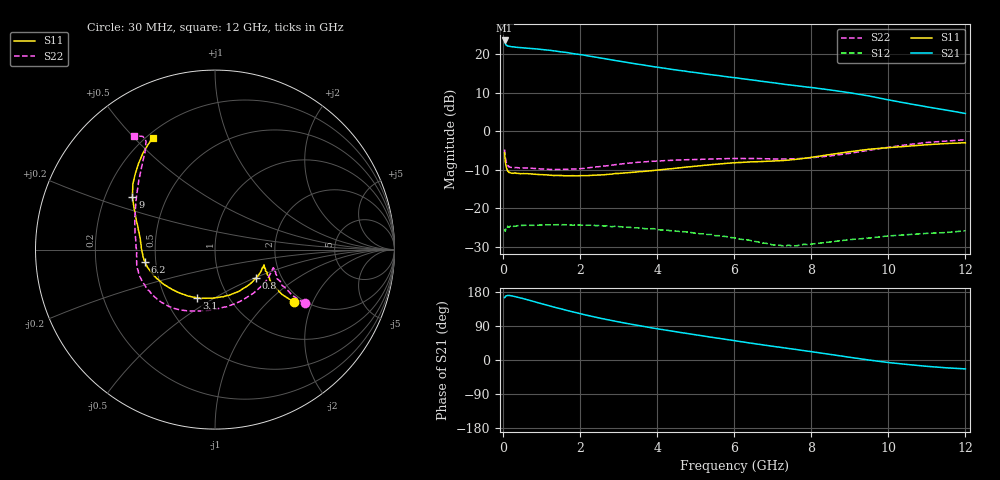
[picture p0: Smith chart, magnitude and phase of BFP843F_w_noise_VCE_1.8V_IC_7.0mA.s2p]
! Infineon Technologies  Discrete & RF Semiconductors
! BFP843F
! VCE =  1.8 V,  IC =  7.0 mA
! Common Emitter S-Parameters:  Aug 2013
# GHz  S  MA  R  50
!  f  S11  S21  S12  S22
! GHz  MAG  ANG  MAG  ANG  MAG  ANG  MAG  ANG
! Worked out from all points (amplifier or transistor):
!   103 points, 30 MHz to 12 GHz, reference 50 ohm
!   highest |S21| = 23.6 dB at 30 MHz (marker M1)
!   |S21| within 3 dB of that: start of sweep to 1.533 GHz
!   unconditionally stable (mu >= 1): 206.5 MHz to 733.5 MHz; 3.01 GHz to end of sweep
!   at 400 MHz: K = 1.01, MAG = 22.6 dB, |S12| = -24.4 dB
!   at 3.7 GHz: K = 1.07, MAG = 19.6 dB, |S12| = -25.3 dB
!   at 12 GHz: K = 1.39, MAG = 11.5 dB, |S12| = -25.8 dB
!   lowest NFmin = 0.80 dB at 450 MHz
!   S11 on the Smith chart (normalised r, x): 30 MHz: 1.81, -1.46; 800 MHz: 1.49, -0.51; 3.1 GHz: 0.71, -0.42; 6.2 GHz: 0.44, -0.07; 9 GHz: 0.32, +0.26; 12 GHz: 0.22, +0.57
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0.03  0.5273 -33.6  15.11 164.7  0.0505 32.4  0.5818 -31.0
0.04  0.4497 -33.8  14.27 165.4  0.0531 25.1  0.4993 -30.6
0.05  0.4002 -32.4  13.7 167.9  0.051 20.5  0.4518 -28.7
0.07  0.3469 -28.7  13.2 169.2  0.0575 19.2  0.405 -26.0
0.15  0.2949 -20.0  12.73 170.3  0.0573 6.9  0.3447 -18.2
0.8  0.2781 -34.7  11.79 154.0  0.0604 -0.3  0.3302 -36.1
1.2  0.2703 -50.2  11.27 142.8  0.0613 -2.2  0.3205 -53.2
1.4  0.268 -58.0  10.93 137.3  0.0616 -3.0  0.3208 -61.4
1.7  0.2652 -69.4  10.44 129.5  0.0611 -4.7  0.3213 -73.9
2.1  0.2661 -83.5  9.73 119.6  0.0605 -6.5  0.3309 -89.5
2.5  0.2715 -95.4  8.983 110.6  0.0601 -9.2  0.3492 -102.3
3.1  0.2875 -111.0  8.009 98.5  0.0575 -11.7  0.3796 -116.7
3.6  0.3014 -122.4  7.304 89.3  0.0552 -13.8  0.4006 -125.6
4.1  0.3183 -133.0  6.686 80.8  0.0525 -15.4  0.414 -133.4
5  0.3538 -150.2  5.783 66.4  0.0475 -16.7  0.4319 -146.2
6.1  0.394 -168.4  4.906 49.5  0.0404 -16.2  0.4439 -161.8
6.2  0.3952 -170.0  4.819 47.9  0.0396 -16.5  0.4452 -163.2
7  0.4118 177.1  4.28 36.1  0.0336 -8.8  0.4382 -174.5
8.5  0.5017 153.6  3.439 14.6  0.0368 10.8  0.4809 158.4
9  0.5452 147.6  3.164 7.1  0.0394 14.1  0.5195 147.8
10.5  0.6415 131.6  2.303 -11.9  0.0457 18.0  0.6718 125.4
12  0.7117 119.1  1.707 -23.5  0.0513 22.9  0.7787 125.4
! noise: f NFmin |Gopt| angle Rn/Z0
0.45  0.8  0.09  13  0.04
0.9  0.8  0.09  25  0.05
1.5  0.85  0.09  37  0.05
1.9  0.91  0.09  52  0.06
2.4  0.95  0.1  68  0.06
3.5  1.01  0.12  99  0.12
5.5  1.12  0.16  167  0.16
10  1.75  0.37  -120  0.25
